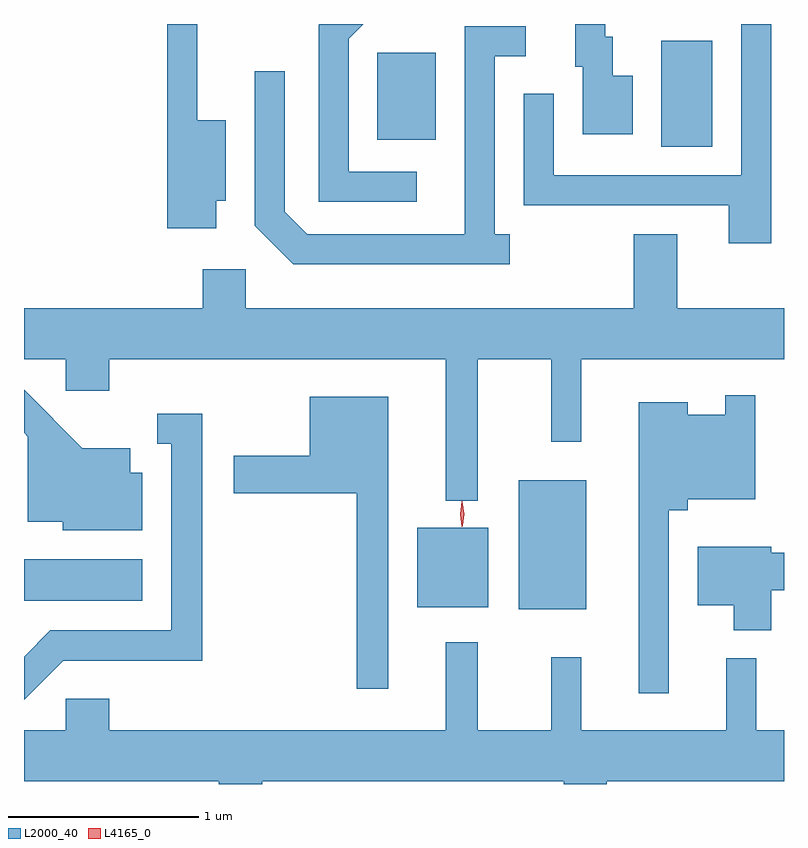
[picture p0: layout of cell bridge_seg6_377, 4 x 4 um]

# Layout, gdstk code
import gdstk
lib = gdstk.Library(unit=1e-6, precision=1e-09)
def R(c, l, rs):  # rectangles x0, y0, x1, y1
    for r in rs: c.add(gdstk.rectangle(r[:2], r[2:], *l))
def P(c, l, *ps):  # polygons
    for p in ps: c.add(gdstk.Polygon(p, *l))
L2000_40 = (2000, 40)
L4165_0 = (4165, 0)

bridge_seg6_377 = lib.new_cell('bridge_seg6_377')
R(bridge_seg6_377, L2000_40, [(1008.196,1624.201,1008.549,1624.879), (1007.661,1624.211,1008.034,1624.629), (1005.591,1624.246,1006.214,1624.464), (1008.946,1626.636,1009.214,1627.194), (1007.451,1626.671,1007.759,1627.129)])
P(bridge_seg6_377, L2000_40, [(1009.524,1627.281),(1009.366,1627.281),(1009.366,1626.484),(1008.379,1626.484),(1008.379,1626.913),(1008.221,1626.913),(1008.221,1626.326),(1009.301,1626.326),(1009.301,1626.126),(1009.524,1626.126)],
  [(1006.604,1626.351),(1006.654,1626.351),(1006.654,1626.774),(1006.504,1626.774),(1006.504,1627.281),(1006.346,1627.281),(1006.346,1626.206),(1006.604,1626.206)],
  [(1007.658,1626.504),(1007.299,1626.504),(1007.299,1627.204),(1007.376,1627.281),(1007.145,1627.281),(1007.141,1627.277),(1007.141,1626.346),(1007.658,1626.346)],
  [(1008.794,1627.009),(1008.689,1627.009),(1008.689,1627.214),(1008.649,1627.214),(1008.649,1627.281),(1008.491,1627.281),(1008.491,1627.056),(1008.531,1627.056),(1008.531,1626.701),(1008.794,1626.701)],
  [(1008.148,1626.174),(1008.069,1626.174),(1008.069,1627.111),(1008.233,1627.111),(1008.233,1627.269),(1007.911,1627.269),(1007.911,1626.174),(1007.082,1626.174),(1006.964,1626.292),(1006.964,1627.033),(1006.806,1627.033),(1006.806,1626.219),(1007.009,1626.016),(1008.148,1626.016)],
  [(1007.979,1625.516),(1008.366,1625.516),(1008.366,1625.083),(1008.524,1625.083),(1008.524,1625.516),(1009.591,1625.516),(1009.591,1625.784),(1009.029,1625.784),(1009.029,1626.174),(1008.801,1626.174),(1008.801,1625.784),(1006.759,1625.784),(1006.759,1625.989),(1006.531,1625.989),(1006.531,1625.784),(1005.591,1625.784),(1005.591,1625.516),(1005.811,1625.516),(1005.811,1625.351),(1006.039,1625.351),(1006.039,1625.516),(1007.811,1625.516),(1007.811,1624.773),(1007.979,1624.773)],
  [(1006.214,1624.919),(1006.149,1624.919),(1006.149,1625.049),(1005.897,1625.049),(1005.591,1625.355),(1005.591,1625.129),(1005.611,1625.109),(1005.611,1624.661),(1005.796,1624.661),(1005.796,1624.616),(1006.214,1624.616)],
  [(1008.984,1624.721),(1009.084,1624.721),(1009.084,1624.781),(1009.439,1624.781),(1009.439,1625.328),(1009.281,1625.328),(1009.281,1625.224),(1009.084,1625.224),(1009.084,1625.289),(1008.826,1625.289),(1008.826,1623.758),(1008.984,1623.758)],
  [(1007.509,1625.319),(1007.096,1625.319),(1007.096,1625.009),(1006.696,1625.009),(1006.696,1624.811),(1007.341,1624.811),(1007.341,1623.783),(1007.509,1623.783)],
  [(1005.797,1623.931),(1006.529,1623.931),(1006.529,1625.229),(1006.293,1625.229),(1006.293,1625.071),(1006.366,1625.071),(1006.366,1624.089),(1005.729,1624.089),(1005.591,1623.951),(1005.591,1623.725)],
  [(1009.524,1624.301),(1009.591,1624.301),(1009.591,1624.499),(1009.524,1624.499),(1009.524,1624.529),(1009.136,1624.529),(1009.136,1624.221),(1009.326,1624.221),(1009.326,1624.091),(1009.524,1624.091)],
  [(1006.844,1623.296),(1008.431,1623.296),(1008.431,1623.281),(1008.659,1623.281),(1008.659,1623.296),(1009.591,1623.296),(1009.591,1623.564),(1009.444,1623.564),(1009.444,1623.943),(1009.286,1623.943),(1009.286,1623.564),(1008.524,1623.564),(1008.524,1623.948),(1008.366,1623.948),(1008.366,1623.564),(1007.979,1623.564),(1007.979,1624.028),(1007.811,1624.028),(1007.811,1623.564),(1006.039,1623.564),(1006.039,1623.729),(1005.811,1623.729),(1005.811,1623.564),(1005.591,1623.564),(1005.591,1623.296),(1006.616,1623.296),(1006.616,1623.281),(1006.844,1623.281)])
P(bridge_seg6_377, L4165_0, [(1007.896,1624.634),(1007.887,1624.702),(1007.896,1624.77),(1007.897,1624.77),(1007.897,1624.77),(1007.907,1624.702),(1007.897,1624.634),(1007.897,1624.634)],
  [(1007.898,1624.638),(1007.898,1624.639),(1007.888,1624.703),(1007.897,1624.767),(1007.898,1624.767),(1007.898,1624.767),(1007.908,1624.703),(1007.899,1624.639)])

lib.write_gds('bridge_seg6_377.gds')
